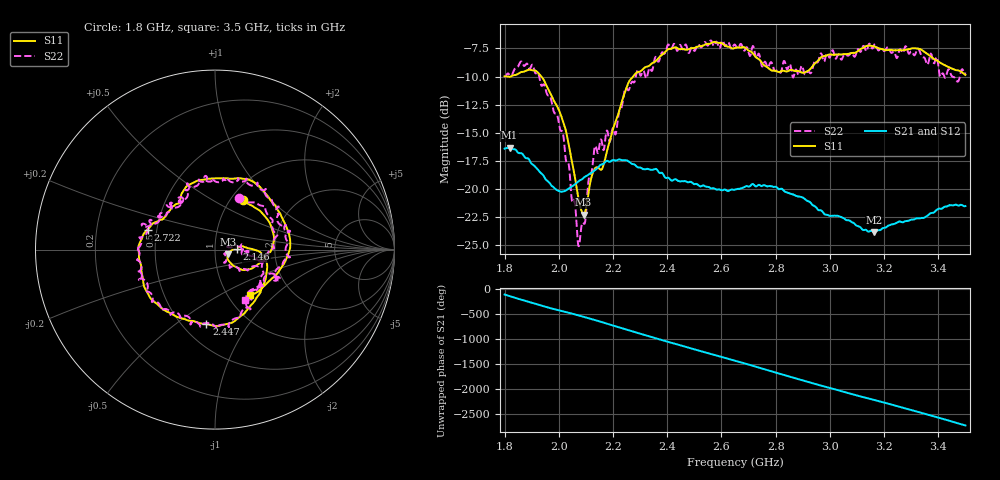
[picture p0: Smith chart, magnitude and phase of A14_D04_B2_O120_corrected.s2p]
! Created with skrf 1.9.0 (http://scikit-rf.org).
# Hz S RI R 50.0
!freq ReS11 ImS11 ReS21 ImS21 ReS12 ImS12 ReS22 ImS22
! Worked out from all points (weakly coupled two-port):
!   1601 points, 1.8 GHz to 3.5 GHz, reference 50 ohm
!   highest |S21| = -16.32 dB at 1.818 GHz (marker M1); lowest = -23.8 dB at 3.164 GHz (marker M2)
!   lowest |S11| = -22.3 dB at 2.091 GHz (marker M3), VSWR 1.17, Z = 57.7 - j3.08 ohm
!   |S11| at or under -10 dB: 1.81 GHz to 1.823 GHz (13.31 MHz wide, 0.733 % of centre); 1.936 GHz to 2.274 GHz (338.3 MHz wide, 16.1 % of centre)
!   |S22| runs from -25.1 to -6.8 dB; largest |S21 - S12| = 0.0025
!   S11 on the Smith chart (normalised r, x): 1.8 GHz: 1.13, +0.70; 2.146 GHz: 1.28, +0.00; 2.447 GHz: 0.65, -0.65; 2.722 GHz: 0.44, +0.12; 3.5 GHz: 1.26, -0.72
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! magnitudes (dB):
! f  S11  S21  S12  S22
! 1.8 GHz  -10.0  -16.4  -16.4  -10.0
! 1.818 GHz  -10.0  -16.3  -16.3  -9.9
! 1.902 GHz  -9.4  -17.8  -17.8  -9.0
! 1.967 GHz  -11.4  -19.5  -19.5  -11.7
! 2.023 GHz  -14.5  -20.2  -20.1  -16.8
! 2.071 GHz  -20.6  -19.3  -19.4  -24.9
! 2.084 GHz  -21.9  -19.2  -19.1  -23.2
! 2.091 GHz  -22.3  -19.0  -19.1  -23.0
! 2.129 GHz  -18.3  -18.4  -18.4  -16.8
! 2.146 GHz  -18.1  -18.0  -18.0  -16.7
! 2.209 GHz  -14.0  -17.5  -17.4  -15.1
! 2.259 GHz  -10.5  -17.6  -17.6  -11.2
! 2.367 GHz  -8.4  -18.5  -18.4  -8.7
! 2.447 GHz  -7.6  -19.3  -19.3  -7.2
! 2.65 GHz  -7.5  -20.0  -20.0  -7.2
! 2.722 GHz  -8.1  -19.7  -19.6  -7.8
! 2.803 GHz  -9.5  -19.8  -19.8  -9.5
! 2.934 GHz  -9.2  -21.4  -21.3  -9.5
! 3.164 GHz  -7.3  -23.8  -23.8  -7.2
! 3.217 GHz  -7.6  -23.2  -23.2  -7.5
! 3.331 GHz  -7.5  -22.6  -22.6  -7.7
! 3.5 GHz  -9.9  -21.5  -21.5  -9.6
